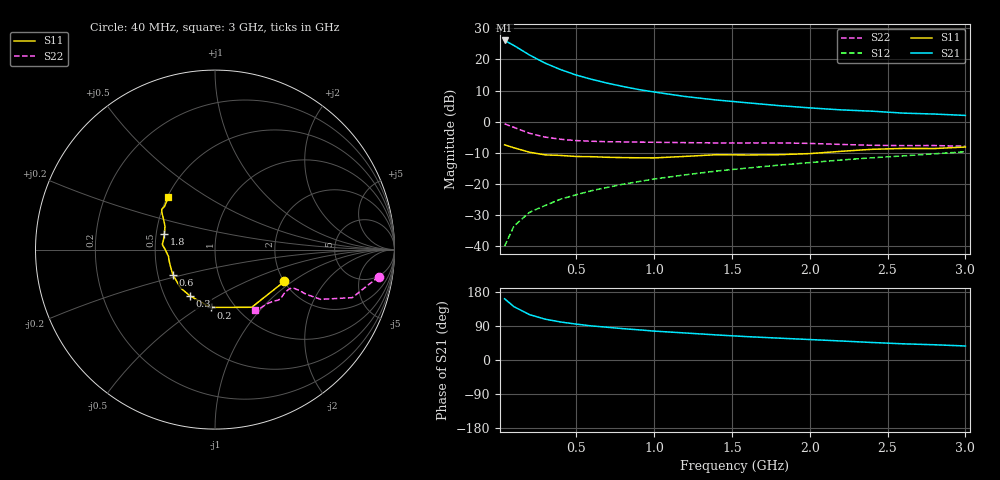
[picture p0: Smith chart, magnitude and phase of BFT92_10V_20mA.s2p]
! Filename:  BFT92J.S2P  Version:  2.0
! Philips part #: BFT92  Date: May 1990
! Bias condition: Vce=-10V, Ic=-20mA
#  MHz  S  MA  R  50
! Freq  S11  S21  S12  S22  !GUM [dB]
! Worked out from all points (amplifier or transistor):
!   21 points, 40 MHz to 3 GHz, reference 50 ohm
!   highest |S21| = 26.1 dB at 40 MHz (marker M1)
!   |S21| within 3 dB of that: start of sweep to 145.2 MHz
!   unconditionally stable (mu >= 1): 543.4 MHz to 2.264 GHz
!   at 300 MHz: K = 0.86, MSG = 22.9 dB, |S12| = -26.9 dB
!   at 1 GHz: K = 1.07, MAG = 12.4 dB, |S12| = -18.4 dB
!   at 3 GHz: K = 0.92, MSG = 5.8 dB, |S12| = -9.7 dB
!   S11 on the Smith chart (normalised r, x): 40 MHz: 2.01, -0.87; 200 MHz: 0.78, -0.56; 300 MHz: 0.67, -0.38; 600 MHz: 0.60, -0.18; 1.8 GHz: 0.55, +0.10; 3 GHz: 0.51, +0.35
40  0.425 -24.7  20.2 161.5  0.01 81.3  0.924 -9.4
100  0.381 -57.5  16.76 140.7  0.021 72.4  0.81 -19.3
200  0.323 -94.3  11.79 119.7  0.035 68.0  0.651 -25.2
300  0.293 -118.5  8.733 107.8  0.045 68.2  0.566 -26.1
400  0.287 -132.3  6.869 100.3  0.057 69.4  0.522 -25.9
500  0.276 -141.6  5.614 94.7  0.067 70.5  0.497 -26.0
600  0.274 -148.8  4.791 89.9  0.078 71.1  0.485 -26.2
700  0.268 -154.7  4.163 86.4  0.088 71.7  0.477 -26.6
800  0.265 -159.8  3.681 82.7  0.099 72.1  0.474 -27.1
900  0.263 -166.2  3.29 79.7  0.109 72.0  0.47 -27.5
1000  0.262 -171.7  3.002 76.3  0.12 72.1  0.467 -28.2
1200  0.277 -179.9  2.54 71.3  0.14 71.9  0.461 -30.1
1400  0.295 174.5  2.232 66.2  0.161 71.6  0.456 -32.5
1600  0.292 169.4  2.011 61.6  0.18 71.0  0.456 -35.1
1800  0.295 163.0  1.815 57.7  0.2 70.8  0.456 -37.2
2000  0.307 155.1  1.667 54.0  0.22 70.4  0.448 -39.1
2200  0.334 149.2  1.549 50.2  0.242 69.9  0.431 -42.1
2400  0.36 145.3  1.475 46.2  0.263 69.1  0.418 -46.5
2600  0.372 142.9  1.374 42.7  0.282 68.3  0.413 -51.2
2800  0.37 139.3  1.327 40.2  0.305 68.0  0.414 -54.2
3000  0.392 131.6  1.261 37.0  0.329 66.9  0.403 -56.7
